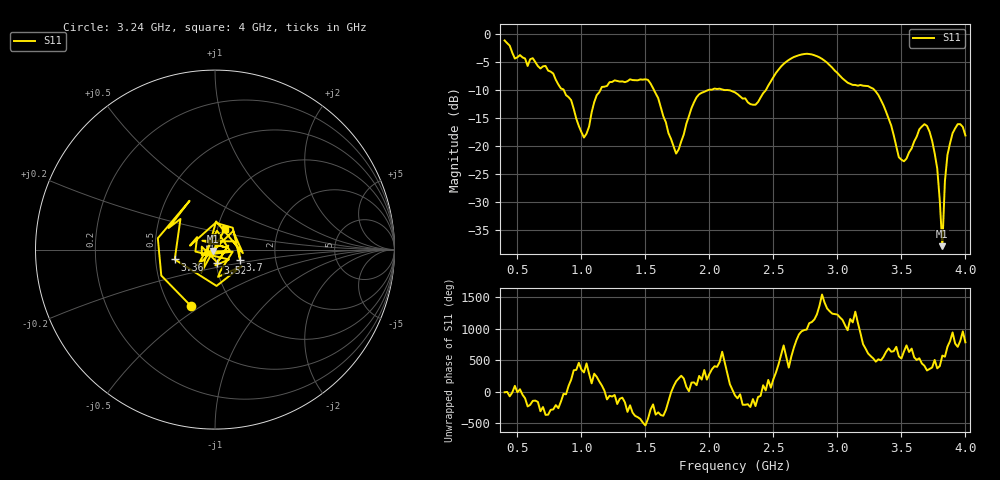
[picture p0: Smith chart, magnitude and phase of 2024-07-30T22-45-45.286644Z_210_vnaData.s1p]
!Created with skrf (http://scikit-rf.org).
# Hz S RI R 50.0
!freq ReS11 ImS11
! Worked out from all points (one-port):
!   181 points, 400 MHz to 4 GHz, reference 50 ohm
!   lowest |S11| = -37.9 dB at 3.82 GHz (marker M1), VSWR 1.03, Z = 49 - j0.706 ohm
!   |S11| at or under -10 dB: 1.567 GHz to 1.992 GHz (425.4 MHz wide, 23.9 % of centre); 2.118 GHz to 2.441 GHz (324 MHz wide, 14.2 % of centre); 3.289 GHz to end of sweep (the widest 3 of 4)
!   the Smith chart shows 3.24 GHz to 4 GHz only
!   S11 on the Smith chart (normalised r, x): 3.24 GHz: 0.64, -0.46; 3.36 GHz: 0.63, -0.07; 3.52 GHz: 1.02, -0.15; 3.7 GHz: 1.31, -0.16; 4 GHz: 1.08, +0.25
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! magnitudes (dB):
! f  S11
! 400 MHz  -1.2
! 480 MHz  -4.4
! 720 MHz  -5.7
! 860 MHz  -9.9
! 1.02 GHz  -18.5
! 1.16 GHz  -9.5
! 1.3 GHz  -8.5
! 1.52 GHz  -8.2
! 1.74 GHz  -21.4
! 1.76 GHz  -20.6
! 1.92 GHz  -10.8
! 2.2 GHz  -10.4
! 2.36 GHz  -12.6
! 2.66 GHz  -4.1
! 2.86 GHz  -4.2
! 3.1 GHz  -8.9
! 3.24 GHz  -9.3
! 3.36 GHz  -12.7
! 3.48 GHz  -22.0
! 3.52 GHz  -22.7
! 3.56 GHz  -21.1
! 3.7 GHz  -16.4
! 3.78 GHz  -24.0
! 3.82 GHz  -37.9
! 3.84 GHz  -26.3
! 3.86 GHz  -21.6
! 3.94 GHz  -16.1
! 4 GHz  -18.1
